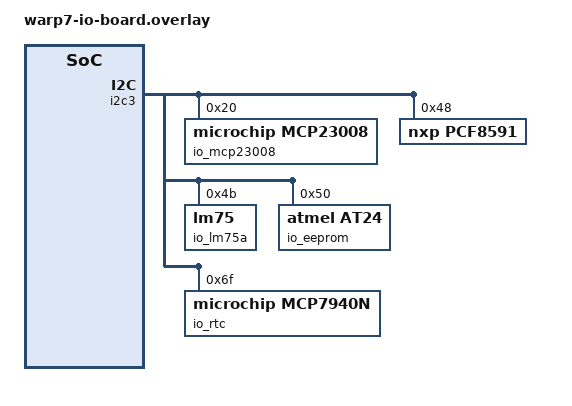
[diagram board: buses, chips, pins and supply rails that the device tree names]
/*
 * WaRP7 IO board devices on I2C3, driven by the Cortex-M4 instead of OP-TEE.
 * Must match bdx-iot-external configs/warp7_m4_defconfig: OP-TEE built
 * without the I2C3 drivers, Linux DT imx7s-warp-m4-io.dts (I2C3 disabled,
 * MCP23008 RESET# held high by Linux, SoC RTC for Linux).
 *
 * The PCF8591 uses the zephyr-application drivers (drivers/mfd, adc, dac):
 * ADC io-adc (AIN0-AIN3), DAC io-dac (AOUT).
 */
/ {
	aliases {
		io-i2c = &i2c3;
		io-gpio = &io_mcp23008;
		io-temp = &io_lm75a;
		io-eeprom = &io_eeprom;
		io-rtc = &io_rtc;
		io-adc = &io_adc;
		io-dac = &io_dac;
	};
};

&i2c3 {
	status = "okay";

	/* RESET# on GPIO7_IO4, held high by Linux (GPIO7 belongs to Linux) */
	io_mcp23008: gpio@20 {
		compatible = "microchip,mcp23008";
		reg = <0x20>;
		gpio-controller;
		#gpio-cells = <2>;
		ngpios = <8>;
	};

	pcf8591@48 {
		compatible = "nxp,pcf8591";
		reg = <0x48>;
		/* VREF on the 3.3 V supply */
		vref-mv = <3300>;

		io_adc: adc {
			compatible = "nxp,pcf8591-adc";
			#io-channel-cells = <1>;
		};

		io_dac: dac {
			compatible = "nxp,pcf8591-dac";
			#io-channel-cells = <1>;
		};
	};

	io_lm75a: lm75a@4b {
		compatible = "lm75";
		reg = <0x4b>;
	};

	/* 24C08: 1 KiB at 0x50-0x53, 8-bit word address */
	io_eeprom: eeprom@50 {
		compatible = "atmel,at24";
		reg = <0x50>;
		size = <1024>;
		pagesize = <16>;
		address-width = <8>;
		timeout = <5>;
	};

	io_rtc: rtc@6f {
		compatible = "microchip,mcp7940n";
		reg = <0x6f>;
	};
};

/* GPIO7 (MCP2515 interrupt, MCP23008 reset) and I2C4 belong to Linux */
&gpio7 {
	status = "disabled";
};

&i2c4 {
	status = "disabled";

	/* On-board IMU, unlabeled: dropped with its bus */
	/delete-node/ fxas21002@20;
};

&fxos8700 {
	status = "disabled";
};
